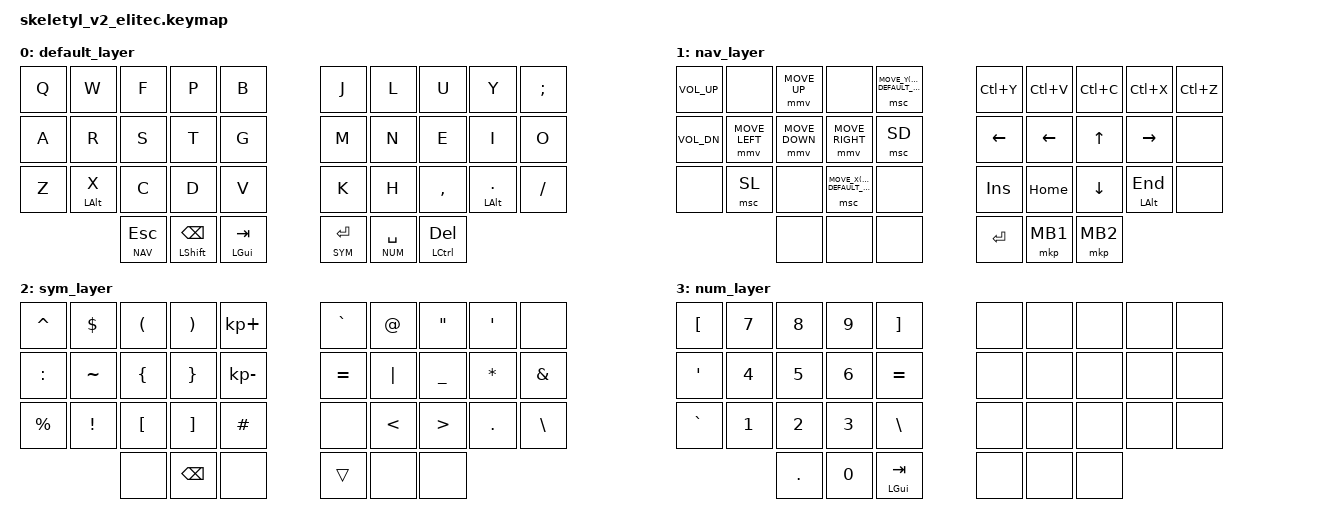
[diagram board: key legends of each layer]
/*
 * Copyright (c) 2020 ZMK Contributors
 *
 * SPDX-License-Identifier: MIT
 */


#include <behaviors.dtsi>
#include <dt-bindings/zmk/keys.h>
#include <dt-bindings/zmk/bt.h>
#include <dt-bindings/zmk/outputs.h>

#include <input/processors.dtsi>

#define ZMK_POINTING_DEFAULT_MOVE_VAL   1500  // default: 600
#define ZMK_POINTING_DEFAULT_SCRL_VAL   20
#include <dt-bindings/zmk/pointing.h>

#define BASE    0
#define NAV     1
#define SYM     2
#define NUM     3

/* Mouse actions */
#define MU MOVE_UP
#define MD MOVE_DOWN
#define ML MOVE_LEFT
#define MR MOVE_RIGHT
#define SU MOVE_Y(ZMK_POINTING_DEFAULT_SCRL_VAL)
#define SD MOVE_Y(-ZMK_POINTING_DEFAULT_SCRL_VAL)
#define SR MOVE_X(ZMK_POINTING_DEFAULT_SCRL_VAL)
#define SL MOVE_X(-ZMK_POINTING_DEFAULT_SCRL_VAL)


&msc {
    time-to-max-speed-ms = <200>;
    delay-ms = <0>;
    acceleration-exponent = <0>;
};

&mmv {
    time-to-max-speed-ms = <200>;
    delay-ms = <0>;
    acceleration-exponent = <1>;
};

#define LSHFT_BSPC  &mt LSHFT BSPC
#define LGUI_TAB    &mt LGUI TAB
#define LCTRL_DEL   &mt LCTRL DEL

#define LALT_X      &mt LALT X
#define LALT_DOT    &mt LALT DOT
#define LALT_END    &mt LALT END

/ {
    combos {
        #include "combos.dtsi"
    };

    keymap {
        compatible = "zmk,keymap";

        default_layer {
            bindings = <
                        &kp Q       &kp W        &kp F        &kp P        &kp B               &kp J       &kp L         &kp U        &kp Y     &kp SEMI
                        &kp A       &kp R        &kp S        &kp T        &kp G               &kp M       &kp N         &kp E        &kp I     &kp O
                        &kp Z       LALT_X       &kp C        &kp D        &kp V               &kp K       &kp H         &kp COMMA    LALT_DOT  &kp FSLH
                                                 &lt NAV ESC  LSHFT_BSPC   LGUI_TAB            &lt SYM RET &lt NUM SPACE LCTRL_DEL
            >;
        };

        nav_layer {
            bindings = <
                        &kp C_VOL_UP &none       &mmv MU     &none       &msc SU             &kp LC(Y)   &kp LC(V)   &kp LC(C)   &kp LC(X)    &kp LC(Z)
                        &kp C_VOL_DN &mmv ML     &mmv MD     &mmv MR     &msc SD             &kp LEFT    &kp LEFT    &kp UP      &kp RIGHT    &none
                        &none        &msc SL     &none       &msc SR     &none               &kp INS     &kp HOME    &kp DOWN    LALT_END     &none
                                                 &none       &none       &none               &kp RET     &mkp MB1    &mkp MB2
            >;
        };

        sym_layer {
            bindings = <
                        &kp CARET   &kp DLLR    &kp LPAR    &kp RPAR     &kp KP_PLUS         &kp GRAVE   &kp AT      &kp DQT     &kp SQT     &none
                        &kp COLON   &kp TILDE   &kp LBRC    &kp RBRC     &kp KP_MINUS        &kp EQUAL   &kp PIPE    &kp UNDER   &kp STAR    &kp AMPS
                        &kp PRCNT   &kp EXCL    &kp LBKT    &kp RBKT     &kp HASH            &none       &kp LT      &kp GT      &kp DOT     &kp BSLH
                                                &none       &kp BSPC     &none               &trans      &none       &none
            >;
        };

        num_layer {
            bindings = <
                        &kp LBKT    &kp N7      &kp N8      &kp N9     &kp RBKT             &none       &none       &none       &none       &none
                        &kp SQT     &kp N4      &kp N5      &kp N6     &kp EQUAL            &none       &none       &none       &none       &none
                        &kp GRAVE   &kp N1      &kp N2      &kp N3     &kp BSLH             &none       &none       &none       &none       &none
                                                &kp DOT     &kp N0     LGUI_TAB             &none       &none       &none
            >;
        };
    };
};
